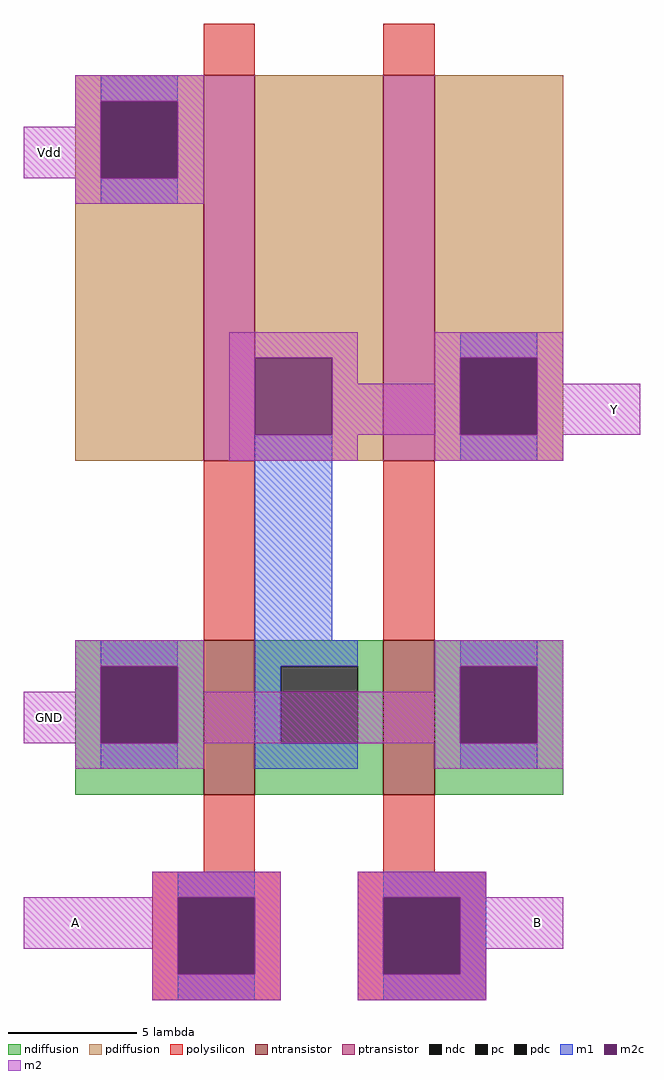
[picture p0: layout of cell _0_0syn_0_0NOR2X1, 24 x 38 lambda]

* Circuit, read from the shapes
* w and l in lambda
.subckt _0_0syn_0_0NOR2X1 A B GND Vdd Y
M1 Y A GND VSUBS nfet w=6 l=2
M2 GND B Y VSUBS nfet w=6 l=2
M3 n1 A Vdd NWELL pfet w=15 l=2
M4 Y B n1 NWELL pfet w=15 l=2
.ends

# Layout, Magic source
magic
tech sky130l
<< ndiffusion >>
rect 8 11 13 12
rect 8 8 9 11
rect 12 8 13 11
rect 8 6 13 8
rect 15 11 20 12
rect 15 8 16 11
rect 19 8 20 11
rect 15 6 20 8
rect 22 11 27 12
rect 22 8 23 11
rect 26 8 27 11
rect 22 6 27 8
<< ndc >>
rect 9 8 12 11
rect 16 8 19 11
rect 23 8 26 11
<< ntransistor >>
rect 13 6 15 12
rect 20 6 22 12
<< pdiffusion >>
rect 8 33 13 34
rect 8 30 9 33
rect 12 30 13 33
rect 8 19 13 30
rect 15 19 20 34
rect 22 23 27 34
rect 22 20 23 23
rect 26 20 27 23
rect 22 19 27 20
<< pdc >>
rect 9 30 12 33
rect 23 20 26 23
<< ptransistor >>
rect 13 19 15 34
rect 20 19 22 34
<< polysilicon >>
rect 13 34 15 36
rect 20 34 22 36
rect 13 12 15 19
rect 20 12 22 19
rect 13 3 15 6
rect 20 3 22 6
rect 11 2 16 3
rect 11 -1 12 2
rect 15 -1 16 2
rect 11 -2 16 -1
rect 19 2 24 3
rect 19 -1 20 2
rect 23 -1 24 2
rect 19 -2 24 -1
<< pc >>
rect 12 -1 15 2
rect 20 -1 23 2
<< m1 >>
rect 9 33 12 34
rect 9 29 12 30
rect 23 23 26 24
rect 15 12 18 20
rect 23 19 26 20
rect 9 11 12 12
rect 9 7 12 8
rect 15 11 19 12
rect 15 8 16 11
rect 15 7 19 8
rect 23 11 26 12
rect 23 7 26 8
rect 12 2 15 3
rect 12 -2 15 -1
rect 20 2 24 3
rect 23 -1 24 2
rect 20 -2 24 -1
<< m2c >>
rect 9 30 12 33
rect 15 20 18 23
rect 23 20 26 23
rect 9 8 12 11
rect 23 8 26 11
rect 12 -1 15 2
rect 20 -1 23 2
<< m2 >>
rect 8 33 13 34
rect 8 32 9 33
rect 6 30 9 32
rect 12 30 13 33
rect 8 29 13 30
rect 14 23 19 24
rect 14 20 15 23
rect 18 22 19 23
rect 22 23 27 24
rect 22 22 23 23
rect 18 20 23 22
rect 26 22 27 23
rect 26 20 30 22
rect 14 19 19 20
rect 22 19 27 20
rect 8 11 13 12
rect 8 10 9 11
rect 6 8 9 10
rect 12 10 13 11
rect 22 11 27 12
rect 22 10 23 11
rect 12 8 23 10
rect 26 8 27 11
rect 8 7 13 8
rect 22 7 27 8
rect 11 2 16 3
rect 6 0 12 2
rect 11 -1 12 0
rect 15 -1 16 2
rect 11 -2 16 -1
rect 19 2 24 3
rect 19 -1 20 2
rect 23 0 27 2
rect 23 -1 24 0
rect 19 -2 24 -1
<< labels >>
rlabel m2 7 9 7 9 3 GND
rlabel m2 26 1 26 1 8 B
rlabel m2 8 1 8 1 2 A
rlabel m2 7 31 7 31 4 Vdd
rlabel m2 29 21 29 21 7 Y
<< end >>
